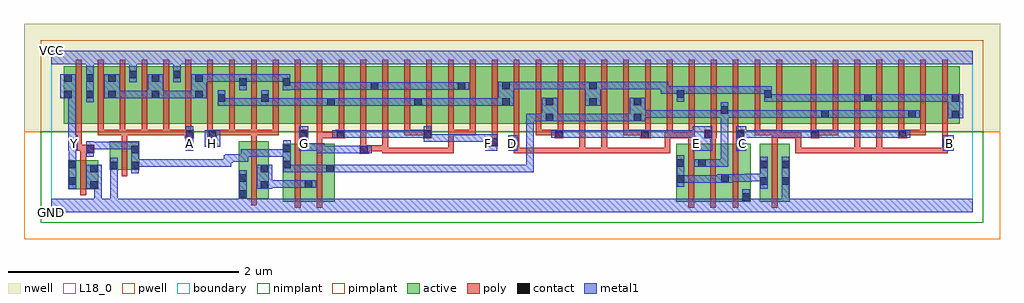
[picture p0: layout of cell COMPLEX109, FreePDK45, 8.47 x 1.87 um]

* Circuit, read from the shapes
.subckt COMPLEX109 A B C D E F G GND H VCC Y
M1 GND n1 Y VSUBS nfet w=0.25u l=0.05u
M2 n1 A GND VSUBS nfet w=0.25u l=0.05u
M3 n2 H GND VSUBS nfet w=0.5u l=0.05u
M4 n2 G n1 VSUBS nfet w=0.5u l=0.05u
M5 n1 F n2 VSUBS nfet w=0.5u l=0.05u
M6 n1 D n3 VSUBS nfet w=0.5u l=0.05u
M7 n3 E n1 VSUBS nfet w=0.5u l=0.05u
M8 GND C n3 VSUBS nfet w=0.5u l=0.05u
M9 GND B n3 VSUBS nfet w=0.5u l=0.05u
M10 VCC n1 Y n4 pfet w=0.5u l=0.05u
M11 n5 A VCC n4 pfet w=0.5u l=0.05u m=5
M12 n6 H n5 n4 pfet w=0.5u l=0.05u m=4
M13 n7 G n5 n4 pfet w=0.5u l=0.05u
M14 n6 F n7 n4 pfet w=0.5u l=0.05u
M15 n8 F n6 n4 pfet w=0.5u l=0.05u
M16 n5 G n8 n4 pfet w=0.5u l=0.05u
M17 n9 G n5 n4 pfet w=0.5u l=0.05u
M18 n6 F n9 n4 pfet w=0.5u l=0.05u
M19 n10 F n6 n4 pfet w=0.5u l=0.05u
M20 n5 G n10 n4 pfet w=0.5u l=0.05u
M21 n11 G n5 n4 pfet w=0.5u l=0.05u
M22 n6 F n11 n4 pfet w=0.5u l=0.05u
M23 n12 D n6 n4 pfet w=0.5u l=0.05u
M24 n1 E n12 n4 pfet w=0.5u l=0.05u
M25 n13 E n1 n4 pfet w=0.5u l=0.05u
M26 n6 D n13 n4 pfet w=0.5u l=0.05u
M27 n14 D n6 n4 pfet w=0.5u l=0.05u
M28 n1 E n14 n4 pfet w=0.5u l=0.05u
M29 n15 E n1 n4 pfet w=0.5u l=0.05u
M30 n6 D n15 n4 pfet w=0.5u l=0.05u
M31 n16 D n6 n4 pfet w=0.5u l=0.05u
M32 n1 E n16 n4 pfet w=0.5u l=0.05u
M33 n17 C n1 n4 pfet w=0.5u l=0.05u
M34 n6 B n17 n4 pfet w=0.5u l=0.05u
M35 n18 B n6 n4 pfet w=0.5u l=0.05u
M36 n1 C n18 n4 pfet w=0.5u l=0.05u
M37 n19 C n1 n4 pfet w=0.5u l=0.05u
M38 n6 B n19 n4 pfet w=0.5u l=0.05u
M39 n20 B n6 n4 pfet w=0.5u l=0.05u
M40 n1 C n20 n4 pfet w=0.5u l=0.05u
M41 n21 C n1 n4 pfet w=0.5u l=0.05u
M42 n6 B n21 n4 pfet w=0.5u l=0.05u
.ends

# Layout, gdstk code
import gdstk
lib = gdstk.Library(unit=1e-6, precision=1e-09)
def R(c, l, rs):  # rectangles x0, y0, x1, y1
    for r in rs: c.add(gdstk.rectangle(r[:2], r[2:], *l))
def A(c, l, x, y, w, h, nx, ny, dx, dy):  # array of equal rectangles
    R(c, l, [(x+i*dx, y+j*dy, x+i*dx+w, y+j*dy+h) for i in range(nx) for j in range(ny)])
active = (1, 0)
pwell = (2, 0)
nwell = (3, 0)
nimplant = (4, 0)
pimplant = (5, 0)
poly = (9, 0)
contact = (10, 0)
metal1 = (11, 0)
L18_0 = (18, 0)
boundary = (235, 0)

complex109 = lib.new_cell('COMPLEX109')
A(complex109, active, 5.275, 0.767, 0.225, 0.5, 3, 1, 0.38, 0)
A(complex109, active, 6.902, 0.767, 0.225, 0.5, 3, 1, 0.38, 0)
A(complex109, active, 4.665, 0.807, 0.075, 0.393, 3, 1, 0.76, 0)
R(complex109, active, [(2.01,0.092,2.27,0.592), (2.195,0.092,2.46,0.592), (5.425,0.092,5.685,0.592), (5.61,0.092,5.885,0.592), (5.81,0.092,6.07,0.592), (5.995,0.092,6.07,0.577), (6.15,0.092,6.41,0.592), (1.63,0.117,1.89,0.617), (1.63,0.117,1.705,0.617), (1.815,0.145,1.89,0.617), (2.01,0.145,2.085,0.592), (2.195,0.145,2.27,0.577), (2.385,0.145,2.46,0.592), (5.425,0.145,5.5,0.592), (5.61,0.145,5.685,0.592), (5.81,0.145,5.885,0.577), (6.15,0.145,6.225,0.592), (6.335,0.145,6.41,0.592), (0.15,0.2,0.225,0.45), (0.15,0.2,0.41,0.45), (0.335,0.2,0.41,0.45), (0.507,0.367,0.582,0.617), (0.507,0.367,0.767,0.617), (0.692,0.367,0.767,0.617), (0.11,0.767,0.375,1.267), (0.11,0.767,0.185,1.2), (0.3,0.767,0.565,1.267), (0.49,0.767,0.75,1.267), (0.675,0.767,0.945,1.267), (0.87,0.767,1.13,1.267), (1.055,0.767,1.32,1.267), (1.245,0.767,1.515,1.267), (1.44,0.767,1.705,1.267), (1.63,0.767,1.895,1.267), (1.82,0.767,2.08,1.267), (2.005,0.767,2.235,1.267), (2.235,0.767,2.465,1.267), (2.39,0.767,2.615,1.267), (2.39,0.767,2.465,1.07), (2.615,0.767,2.845,1.267), (2.77,0.767,2.995,1.267), (2.995,0.767,3.22,1.267), (3.145,0.767,3.375,1.267), (3.375,0.767,3.6,1.267), (3.525,0.767,3.755,1.267), (3.755,0.767,3.985,1.267), (3.91,0.767,4.135,1.267), (4.135,0.767,4.365,1.267), (4.29,0.767,4.515,1.267), (4.29,0.767,4.365,1.07), (4.515,0.767,4.74,1.267), (4.665,0.767,4.895,1.267), (4.895,0.767,5.125,1.267), (5.05,0.767,5.275,1.267), (5.425,0.767,5.655,1.267), (5.805,0.767,6.035,1.267), (5.805,0.767,5.88,1.07), (6.185,0.767,6.522,1.267), (6.522,0.767,6.752,1.267), (6.677,0.767,6.902,1.267), (7.052,0.767,7.282,1.267), (7.432,0.767,7.662,1.267), (7.812,0.767,7.887,1.2), (5.05,0.782,5.125,1.07), (0.3,0.807,0.375,1.255), (0.49,0.807,0.565,1.2), (0.675,0.807,0.75,1.255), (0.87,0.807,0.945,1.2), (1.055,0.807,1.13,1.255), (1.245,0.807,1.32,1.2), (1.44,0.807,1.515,1.07), (1.63,0.807,1.705,1.2), (1.82,0.807,1.895,1.07), (2.005,0.807,2.08,1.2), (2.77,0.807,2.845,1.2), (3.145,0.807,3.22,1.07), (3.525,0.807,3.6,1.2), (3.91,0.807,3.985,1.2), (6.677,0.807,6.752,1.07), (7.052,0.807,7.127,1.2), (7.432,0.807,7.507,1.07)])
R(complex109, pwell, [(-0.235,-0.235,8.235,0.7)])
R(complex109, nwell, [(-0.235,0.7,8.235,1.635)])
R(complex109, nimplant, [(-0.09,-0.09,8.09,0.7)])
R(complex109, pimplant, [(-0.09,0.7,8.09,1.49)])
A(complex109, poly, 0.405, 0.667, 0.05, 0.095, 10, 1, 0.19, 0)
A(complex109, poly, 1.735, 0.667, 0.05, 0.05, 3, 1, 0.19, 0)
A(complex109, poly, 3.065, 0.667, 0.05, 0.095, 4, 1, 0.19, 0)
A(complex109, poly, 5.725, 0.667, 0.05, 0.095, 4, 1, 0.19, 0)
A(complex109, poly, 0.215, 0.712, 0.05, 0.61, 33, 1, 0.19, 0)
A(complex109, poly, 6.592, 0.712, 0.05, 0.61, 7, 1, 0.19, 0)
R(complex109, poly, [(2.115,0.037,2.165,0.647), (2.305,0.037,2.355,0.647), (5.53,0.037,5.58,0.647), (5.72,0.037,5.77,0.647), (5.915,0.037,5.965,0.647), (6.255,0.037,6.305,0.647), (1.735,0.062,1.785,0.717), (0.255,0.145,0.305,0.505), (0.612,0.312,0.662,0.672), (0.255,0.455,0.305,0.56), (2.68,0.505,2.755,0.58), (0.255,0.51,0.375,0.585), (2.875,0.51,2.925,0.56), (2.875,0.51,2.925,0.56), (2.875,0.51,2.925,0.56), (2.875,0.51,3.057,0.56), (2.875,0.51,2.925,0.58), (3.007,0.51,3.057,0.56), (3.007,0.51,3.057,0.56), (3.007,0.51,3.057,0.56), (3.007,0.51,3.247,0.56), (3.197,0.51,3.247,0.56), (3.197,0.51,3.495,0.56), (3.445,0.51,3.495,0.56), (3.445,0.51,3.495,0.56), (3.445,0.51,3.495,0.56), (3.445,0.51,3.495,0.717), (4.015,0.51,4.065,0.612), (4.015,0.51,4.065,0.56), (4.015,0.51,4.287,0.56), (4.237,0.51,4.287,0.56), (4.237,0.51,4.287,0.56), (4.237,0.51,4.287,0.56), (4.237,0.51,4.502,0.56), (4.452,0.51,4.502,0.56), (4.452,0.51,4.502,0.56), (4.452,0.51,4.502,0.56), (4.452,0.51,4.635,0.56), (4.585,0.51,4.635,0.56), (4.585,0.51,4.635,0.56), (4.585,0.51,4.635,0.56), (4.585,0.51,4.635,0.56), (4.585,0.51,4.635,0.56), (4.585,0.51,4.635,0.762), (4.585,0.51,4.825,0.56), (4.775,0.51,4.825,0.56), (4.775,0.51,4.825,0.56), (4.775,0.51,4.825,0.56), (4.775,0.51,4.825,0.56), (4.775,0.51,4.825,0.56), (4.775,0.51,4.825,0.762), (4.775,0.51,5.032,0.56), (4.982,0.51,5.032,0.56), (4.982,0.51,5.032,0.56), (4.982,0.51,5.032,0.56), (4.982,0.51,5.242,0.56), (5.192,0.51,5.242,0.56), (5.192,0.51,5.242,0.56), (5.192,0.51,5.242,0.56), (5.192,0.51,5.375,0.56), (5.325,0.51,5.375,0.692), (6.46,0.51,6.51,0.56), (6.46,0.51,6.51,0.56), (6.46,0.51,6.89,0.56), (6.46,0.51,6.51,0.692), (6.84,0.51,6.89,0.56), (6.84,0.51,6.89,0.56), (6.84,0.51,6.89,0.56), (6.84,0.51,7.022,0.56), (6.972,0.51,7.022,0.56), (6.972,0.51,7.022,0.56), (6.972,0.51,7.022,0.56), (6.972,0.51,7.022,0.56), (6.972,0.51,7.022,0.56), (6.972,0.51,7.022,0.762), (6.972,0.51,7.212,0.56), (7.162,0.51,7.212,0.56), (7.162,0.51,7.212,0.56), (7.162,0.51,7.212,0.56), (7.162,0.51,7.212,0.56), (7.162,0.51,7.212,0.56), (7.162,0.51,7.345,0.56), (7.162,0.51,7.212,0.762), (7.295,0.51,7.345,0.56), (7.295,0.51,7.345,0.56), (7.295,0.51,7.345,0.56), (7.295,0.51,7.56,0.56), (7.51,0.51,7.56,0.56), (7.51,0.51,7.56,0.56), (7.51,0.51,7.56,0.56), (7.51,0.51,7.782,0.56), (7.732,0.51,7.782,0.612), (7.732,0.51,7.782,0.56), (7.732,0.51,7.782,0.56), (7.732,0.51,7.782,0.56), (2.685,0.53,2.735,0.58), (2.685,0.53,2.735,0.58), (2.685,0.53,2.735,0.58), (2.685,0.53,2.735,0.58), (2.685,0.53,2.925,0.58), (2.685,0.53,2.735,0.762), (2.875,0.53,2.925,0.58), (2.875,0.53,2.925,0.762), (0.215,0.535,0.305,0.585), (0.215,0.535,0.265,0.762), (0.255,0.535,0.305,0.585), (3.98,0.562,4.065,0.637), (4.015,0.562,4.065,0.612), (4.015,0.562,4.065,0.612), (7.732,0.562,7.807,0.637), (3.8,0.572,3.875,0.647), (4.015,0.587,4.065,0.762), (7.732,0.587,7.782,0.762), (2.115,0.597,2.165,0.692), (2.305,0.597,2.355,0.692), (3.825,0.597,3.875,0.762), (5.53,0.597,5.58,0.692), (5.72,0.597,5.77,0.692), (5.915,0.597,5.965,0.692), (6.255,0.597,6.305,0.692), (0.612,0.622,0.662,0.717), (1.162,0.642,1.237,0.717), (1.355,0.642,1.437,0.717), (2.115,0.642,2.222,0.717), (2.305,0.642,2.355,0.692), (2.305,0.642,2.355,0.692), (2.305,0.642,2.355,0.692), (2.305,0.642,2.355,0.692), (2.305,0.642,2.355,0.692), (2.305,0.642,2.355,0.762), (2.305,0.642,2.522,0.692), (2.472,0.642,2.547,0.717), (3.23,0.642,3.305,0.717), (4.37,0.642,4.445,0.717), (5.115,0.642,5.205,0.717), (5.325,0.642,5.375,0.692), (5.325,0.642,5.375,0.692), (5.325,0.642,5.375,0.692), (5.325,0.642,5.58,0.692), (5.325,0.642,5.395,0.692), (5.345,0.642,5.395,0.762), (5.53,0.642,5.585,0.692), (5.535,0.642,5.585,0.692), (5.535,0.642,5.585,0.692), (5.535,0.642,5.585,0.762), (5.667,0.642,5.775,0.717), (5.72,0.642,5.77,0.692), (5.72,0.642,5.77,0.692), (5.915,0.642,6.017,0.717), (6.255,0.642,6.305,0.692), (6.255,0.642,6.51,0.692), (6.255,0.642,6.305,0.717), (6.592,0.642,6.667,0.717), (7.352,0.642,7.427,0.717), (0.405,0.667,0.455,0.717), (0.405,0.667,0.645,0.717), (0.595,0.667,0.645,0.717), (0.595,0.667,0.645,0.717), (0.595,0.667,0.662,0.717), (0.612,0.667,0.662,0.717), (0.612,0.667,0.662,0.717), (0.612,0.667,0.835,0.717), (0.785,0.667,0.835,0.717), (0.785,0.667,0.835,0.717), (0.785,0.667,0.835,0.717), (0.785,0.667,1.025,0.717), (0.975,0.667,1.025,0.717), (0.975,0.667,1.025,0.717), (0.975,0.667,1.025,0.717), (0.975,0.667,1.212,0.717), (1.162,0.667,1.212,0.717), (1.162,0.667,1.212,0.717), (1.387,0.667,1.437,0.717), (1.387,0.667,1.437,0.717), (1.387,0.667,1.595,0.717), (1.545,0.667,1.595,0.717), (1.545,0.667,1.595,0.717), (1.545,0.667,1.595,0.717), (1.545,0.667,1.785,0.717), (1.735,0.667,1.785,0.717), (1.735,0.667,1.785,0.717), (1.735,0.667,1.785,0.717), (1.735,0.667,1.785,0.717), (1.735,0.667,1.785,0.717), (1.735,0.667,1.975,0.717), (2.115,0.667,2.165,0.717), (2.495,0.667,2.545,0.762), (3.065,0.667,3.115,0.717), (3.065,0.667,3.28,0.717), (3.23,0.667,3.28,0.717), (3.23,0.667,3.28,0.717), (3.445,0.667,3.495,0.717), (3.445,0.667,3.685,0.717), (3.635,0.667,3.685,0.717), (3.635,0.667,3.685,0.717), (3.635,0.667,3.685,0.717), (4.205,0.667,4.255,0.717), (4.205,0.667,4.255,0.717), (4.205,0.667,4.255,0.717), (4.205,0.667,4.255,0.762), (4.205,0.667,4.42,0.717), (4.395,0.667,4.445,0.762), (4.965,0.667,5.015,0.717), (4.965,0.667,5.015,0.717), (4.965,0.667,5.015,0.717), (4.965,0.667,5.015,0.762), (4.965,0.667,5.165,0.717), (5.155,0.667,5.205,0.762), (5.915,0.667,5.965,0.717), (5.915,0.667,5.965,0.717), (6.105,0.667,6.155,0.717), (6.105,0.667,6.305,0.717), (6.255,0.667,6.305,0.717), (6.255,0.667,6.305,0.717), (6.255,0.667,6.345,0.717), (6.592,0.667,6.642,0.762), (6.617,0.667,6.667,0.717), (6.617,0.667,6.667,0.717), (6.617,0.667,6.832,0.717), (6.782,0.667,6.832,0.717), (6.782,0.667,6.832,0.762), (7.352,0.667,7.402,0.762), (7.377,0.667,7.592,0.717), (7.542,0.667,7.592,0.717), (7.542,0.667,7.592,0.717), (7.542,0.667,7.592,0.717), (7.542,0.667,7.592,0.762)])
A(complex109, contact, 0.115, 0.99, 0.065, 0.065, 3, 2, 0.19, 0.14)
R(complex109, contact, [(6,0.097,6.065,0.162), (1.635,0.125,1.7,0.19), (0.34,0.205,0.405,0.27), (1.82,0.205,1.885,0.27), (2.2,0.21,2.265,0.275), (0.155,0.24,0.22,0.305), (6.155,0.24,6.22,0.305), (6.34,0.24,6.405,0.305), (5.43,0.255,5.495,0.32), (5.815,0.262,5.88,0.327), (1.635,0.265,1.7,0.33), (0.34,0.345,0.405,0.41), (1.82,0.345,1.885,0.41), (2.39,0.347,2.455,0.412), (0.512,0.372,0.577,0.437), (0.697,0.372,0.762,0.437), (0.155,0.38,0.22,0.445), (6.155,0.38,6.22,0.445), (6.34,0.38,6.405,0.445), (2.015,0.382,2.08,0.447), (5.43,0.395,5.495,0.46), (5.615,0.395,5.68,0.46), (2.685,0.51,2.75,0.575), (0.697,0.512,0.762,0.577), (0.305,0.515,0.37,0.58), (2.015,0.522,2.08,0.587), (3.985,0.567,4.05,0.632), (7.737,0.567,7.802,0.632), (3.805,0.577,3.87,0.642), (1.167,0.647,1.232,0.712), (1.367,0.647,1.432,0.712), (2.152,0.647,2.217,0.712), (2.477,0.647,2.542,0.712), (3.235,0.647,3.3,0.712), (4.375,0.647,4.44,0.712), (5.12,0.647,5.185,0.712), (5.672,0.647,5.737,0.712), (5.947,0.647,6.012,0.712), (6.597,0.647,6.662,0.712), (7.357,0.647,7.422,0.712), (4.295,0.787,4.36,0.852), (5.055,0.787,5.12,0.852), (7.817,0.817,7.882,0.882), (6.682,0.82,6.747,0.885), (7.437,0.82,7.502,0.885), (5.81,0.855,5.875,0.92), (2.395,0.925,2.46,0.99), (3.15,0.925,3.215,0.99), (3.915,0.925,3.98,0.99), (4.67,0.925,4.735,0.99), (4.295,0.927,4.36,0.992), (5.055,0.927,5.12,0.992), (1.445,0.957,1.51,1.022), (1.825,0.957,1.89,1.022), (7.057,0.957,7.122,1.022), (7.817,0.957,7.882,1.022), (0.875,0.99,0.94,1.055), (1.25,0.99,1.315,1.055), (5.43,0.992,5.495,1.057), (6.19,0.992,6.255,1.057), (2.775,1.062,2.84,1.127), (3.53,1.062,3.595,1.127), (3.915,1.065,3.98,1.13), (4.67,1.065,4.735,1.13), (1.635,1.095,1.7,1.16), (2.01,1.095,2.075,1.16), (0.875,1.13,0.94,1.195), (1.25,1.13,1.315,1.195), (0.68,1.162,0.745,1.227), (1.06,1.162,1.125,1.227)])
A(complex109, metal1, 0.08, 0.99, 0.135, 0.205, 3, 1, 0.38, 0)
R(complex109, metal1, [(0,0,8,0.115), (0.375,0.05,0.44,0.115), (0.375,0.05,0.44,0.115), (0.375,0.05,0.44,0.27), (0.512,0.05,0.577,0.115), (0.512,0.05,0.577,0.115), (0.512,0.05,0.577,0.402), (1.635,0.05,1.7,0.155), (6,0.05,6.065,0.127), (6.34,0.05,6.405,0.27), (6,0.062,6.065,0.197), (1.635,0.09,1.7,0.365), (0.155,0.205,0.22,0.48), (0.305,0.205,0.44,0.41), (0.375,0.205,0.44,0.27), (0.375,0.205,0.44,0.27), (1.785,0.205,1.92,0.41), (6.155,0.205,6.22,0.48), (6.34,0.205,6.405,0.48), (1.855,0.21,1.92,0.275), (1.855,0.21,1.92,0.275), (1.855,0.21,2.092,0.275), (2.027,0.21,2.092,0.275), (2.027,0.21,2.23,0.275), (2.165,0.21,2.23,0.275), (2.165,0.21,2.23,0.275), (2.165,0.21,2.3,0.275), (5.43,0.22,5.495,0.495), (5.43,0.257,5.495,0.322), (5.43,0.257,5.495,0.322), (5.43,0.257,5.707,0.322), (5.642,0.257,5.707,0.322), (5.642,0.257,5.845,0.322), (5.78,0.257,5.845,0.322), (5.78,0.257,5.845,0.322), (5.78,0.257,5.915,0.327), (5.85,0.262,6.082,0.327), (6.017,0.262,6.082,0.335), (6.017,0.27,6.082,0.335), (6.017,0.27,6.082,0.335), (6.017,0.27,6.22,0.335), (6.155,0.27,6.22,0.335), (6.155,0.27,6.22,0.335), (0.512,0.337,0.577,0.402), (0.512,0.337,0.577,0.402), (0.512,0.337,0.577,0.472), (0.697,0.337,0.762,0.612), (2.015,0.347,2.08,0.622), (2.015,0.347,2.23,0.412), (2.165,0.347,2.23,0.412), (2.165,0.347,2.23,0.412), (2.165,0.347,2.23,0.412), (2.165,0.347,2.37,0.412), (2.305,0.347,2.37,0.412), (2.305,0.347,2.42,0.412), (2.355,0.347,2.49,0.412), (2.425,0.347,2.507,0.412), (2.442,0.347,2.507,0.412), (2.442,0.347,2.645,0.412), (2.58,0.347,2.645,0.412), (2.58,0.347,2.875,0.412), (2.81,0.347,2.875,0.412), (2.81,0.347,2.875,0.412), (2.81,0.347,2.875,0.412), (2.81,0.347,3.012,0.412), (2.947,0.347,3.012,0.412), (2.947,0.347,3.012,0.412), (2.947,0.347,3.012,0.412), (2.947,0.347,3.162,0.412), (3.097,0.347,3.162,0.412), (3.097,0.347,3.162,0.412), (3.097,0.347,3.162,0.412), (3.097,0.347,3.387,0.412), (3.322,0.347,3.387,0.412), (3.322,0.347,3.387,0.412), (3.322,0.347,3.387,0.412), (3.322,0.347,3.532,0.412), (3.467,0.347,3.532,0.412), (3.467,0.347,3.532,0.412), (3.467,0.347,3.532,0.412), (3.467,0.347,3.532,0.412), (3.467,0.347,3.532,0.412), (3.467,0.347,3.67,0.412), (3.605,0.347,3.67,0.412), (3.605,0.347,3.67,0.412), (3.605,0.347,3.67,0.412), (3.605,0.347,3.832,0.412), (3.767,0.347,3.832,0.412), (3.767,0.347,3.97,0.412), (3.905,0.347,3.97,0.412), (3.905,0.347,3.97,0.412), (3.905,0.347,3.97,0.412), (3.905,0.347,4.187,0.412), (4.122,0.347,4.187,0.412), (4.122,0.347,4.187,0.412), (4.122,0.347,4.187,0.412), (4.122,0.347,4.187,0.852), (0.697,0.395,0.937,0.46), (0.872,0.395,0.937,0.46), (0.872,0.395,0.937,0.46), (0.872,0.395,0.937,0.46), (0.872,0.395,1.075,0.46), (1.01,0.395,1.075,0.46), (1.01,0.395,1.112,0.46), (1.047,0.395,1.112,0.46), (1.047,0.395,1.212,0.46), (1.147,0.395,1.212,0.46), (1.147,0.395,1.25,0.46), (1.185,0.395,1.25,0.46), (1.185,0.395,1.35,0.46), (1.285,0.395,1.35,0.46), (1.285,0.395,1.562,0.46), (1.497,0.395,1.562,0.495), (5.58,0.395,5.715,0.46), (5.65,0.395,5.715,0.46), (5.65,0.395,5.715,0.46), (5.65,0.395,5.875,0.46), (5.81,0.395,5.875,0.46), (5.81,0.395,5.875,0.885), (0.155,0.415,0.22,0.597), (1.497,0.43,1.575,0.495), (1.51,0.43,1.575,0.502), (1.51,0.437,1.712,0.502), (1.647,0.437,1.712,0.547), (0.305,0.48,0.37,0.615), (1.647,0.482,1.712,0.547), (1.647,0.482,1.712,0.547), (1.647,0.482,1.85,0.547), (1.785,0.482,1.85,0.547), (1.785,0.482,1.85,0.547), (1.785,0.482,1.85,0.547), (1.785,0.482,2.08,0.547), (2.305,0.51,2.507,0.575), (2.305,0.51,2.37,0.597), (2.442,0.51,2.507,0.575), (2.442,0.51,2.507,0.575), (2.442,0.51,2.507,0.575), (2.442,0.51,2.645,0.575), (2.58,0.51,2.645,0.575), (2.58,0.51,2.715,0.575), (2.65,0.51,2.785,0.575), (0.15,0.532,0.232,0.667), (1.167,0.532,1.232,0.747), (2.152,0.532,2.232,0.747), (2.167,0.532,2.232,0.597), (2.167,0.532,2.232,0.597), (2.167,0.532,2.37,0.597), (3.767,0.532,3.87,0.677), (3.967,0.532,4.05,0.667), (5.567,0.532,5.737,0.747), (5.947,0.532,6.032,0.747), (7.737,0.532,7.832,0.667), (0.305,0.545,0.37,0.61), (0.305,0.545,0.37,0.61), (0.305,0.545,0.607,0.61), (0.542,0.545,0.607,0.61), (0.542,0.545,0.607,0.61), (0.542,0.545,0.607,0.61), (0.542,0.545,0.607,0.61), (0.542,0.545,0.607,0.61), (0.542,0.545,0.762,0.61), (0.697,0.545,0.762,0.61), (0.697,0.545,0.762,0.61), (1.332,0.567,1.467,0.712), (0.15,0.602,0.215,1.055), (3.235,0.612,3.3,0.747), (3.235,0.612,3.387,0.677), (3.322,0.612,3.387,0.677), (3.322,0.612,3.532,0.677), (3.467,0.612,3.532,0.677), (3.467,0.612,3.532,0.677), (3.467,0.612,3.532,0.677), (3.467,0.612,3.695,0.677), (3.63,0.612,3.695,0.677), (3.63,0.612,3.695,0.677), (3.63,0.612,3.695,0.677), (3.63,0.612,3.832,0.677), (2.442,0.647,2.577,0.712), (2.512,0.647,2.667,0.712), (2.602,0.647,2.667,0.712), (2.602,0.647,2.875,0.712), (2.81,0.647,2.875,0.712), (2.81,0.647,2.875,0.712), (2.81,0.647,2.875,0.712), (2.81,0.647,3.012,0.712), (2.947,0.647,3.012,0.712), (2.947,0.647,3.012,0.712), (2.947,0.647,3.012,0.712), (2.947,0.647,3.162,0.712), (3.097,0.647,3.162,0.712), (3.097,0.647,3.162,0.712), (3.097,0.647,3.162,0.712), (3.097,0.647,3.3,0.712), (4.34,0.647,4.475,0.712), (4.41,0.647,4.562,0.712), (4.497,0.647,4.562,0.712), (4.497,0.647,4.632,0.712), (4.567,0.647,4.632,0.712), (4.567,0.647,4.77,0.712), (4.705,0.647,4.77,0.712), (4.705,0.647,4.77,0.712), (4.705,0.647,4.77,0.712), (4.705,0.647,4.947,0.712), (4.882,0.647,4.947,0.712), (4.882,0.647,4.947,0.712), (4.882,0.647,4.947,0.712), (4.882,0.647,5.15,0.712), (5.085,0.647,5.15,0.712), (5.085,0.647,5.15,0.712), (5.085,0.647,5.22,0.712), (5.155,0.647,5.357,0.712), (5.292,0.647,5.357,0.712), (5.292,0.647,5.357,0.712), (5.292,0.647,5.357,0.712), (5.292,0.647,5.495,0.712), (5.43,0.647,5.495,0.712), (5.43,0.647,5.495,0.712), (5.43,0.647,5.495,0.712), (5.43,0.647,5.632,0.712), (5.567,0.647,5.632,0.712), (5.567,0.647,5.632,0.712), (5.967,0.647,6.052,0.712), (5.987,0.647,6.052,0.712), (5.987,0.647,6.255,0.712), (6.19,0.647,6.255,0.712), (6.19,0.647,6.255,0.712), (6.19,0.647,6.255,0.712), (6.19,0.647,6.392,0.712), (6.327,0.647,6.392,0.712), (6.327,0.647,6.392,0.712), (6.327,0.647,6.392,0.712), (6.327,0.647,6.392,0.712), (6.327,0.647,6.392,0.712), (6.327,0.647,6.627,0.712), (6.562,0.647,6.697,0.712), (6.632,0.647,6.697,0.712), (6.632,0.647,6.697,0.712), (6.632,0.647,6.95,0.712), (6.885,0.647,6.95,0.712), (6.885,0.647,6.95,0.712), (6.885,0.647,6.95,0.712), (6.885,0.647,7.112,0.712), (7.047,0.647,7.112,0.712), (7.047,0.647,7.112,0.712), (7.047,0.647,7.112,0.712), (7.047,0.647,7.25,0.712), (7.185,0.647,7.25,0.712), (7.185,0.647,7.295,0.712), (7.23,0.647,7.295,0.712), (7.23,0.647,7.387,0.712), (7.322,0.647,7.457,0.712), (4.122,0.787,4.187,0.852), (4.122,0.787,4.187,0.852), (4.122,0.787,4.187,0.852), (4.122,0.787,4.325,0.852), (4.26,0.787,4.395,0.992), (4.33,0.787,4.395,0.852), (4.33,0.787,4.395,0.852), (4.33,0.787,4.532,0.852), (4.467,0.787,4.532,0.852), (4.467,0.787,4.632,0.852), (4.567,0.787,4.632,0.852), (4.567,0.787,4.77,0.852), (4.705,0.787,4.77,0.852), (4.705,0.787,4.77,0.852), (4.705,0.787,4.77,0.852), (4.705,0.787,4.947,0.852), (4.882,0.787,4.947,0.852), (4.882,0.787,4.947,0.852), (4.882,0.787,4.947,0.852), (4.882,0.787,5.085,0.852), (5.02,0.787,5.155,0.992), (7.782,0.817,7.917,1.022), (5.09,0.82,5.155,0.885), (5.09,0.82,5.155,0.885), (5.09,0.82,5.357,0.885), (5.292,0.82,5.357,0.885), (5.292,0.82,5.357,0.885), (5.292,0.82,5.357,0.885), (5.292,0.82,5.495,0.885), (5.43,0.82,5.495,0.885), (5.43,0.82,5.495,0.885), (5.43,0.82,5.495,0.885), (5.43,0.82,5.707,0.885), (5.642,0.82,5.707,0.885), (5.642,0.82,5.875,0.885), (5.81,0.82,5.875,0.885), (5.81,0.82,5.875,0.885), (5.81,0.82,5.875,0.885), (5.81,0.82,5.875,0.885), (5.81,0.82,5.875,0.885), (5.81,0.82,5.875,0.885), (5.81,0.82,5.875,0.955), (5.81,0.82,6.052,0.885), (5.987,0.82,6.052,0.885), (5.987,0.82,6.052,0.885), (5.987,0.82,6.052,0.885), (5.987,0.82,6.255,0.885), (6.19,0.82,6.255,0.885), (6.19,0.82,6.255,0.885), (6.19,0.82,6.255,0.885), (6.19,0.82,6.49,0.885), (6.425,0.82,6.49,0.885), (6.425,0.82,6.49,0.885), (6.425,0.82,6.49,0.885), (6.425,0.82,6.712,0.885), (6.647,0.82,6.712,0.885), (6.647,0.82,6.712,0.885), (6.647,0.82,6.782,0.885), (6.717,0.82,6.95,0.885), (6.885,0.82,6.95,0.885), (6.885,0.82,6.95,0.885), (6.885,0.82,6.95,0.885), (6.885,0.82,7.087,0.885), (7.022,0.82,7.087,0.885), (7.022,0.82,7.087,0.885), (7.022,0.82,7.087,0.885), (7.022,0.82,7.25,0.885), (7.185,0.82,7.25,0.885), (7.185,0.82,7.295,0.885), (7.23,0.82,7.295,0.885), (7.23,0.82,7.467,0.885), (7.402,0.82,7.467,0.885), (7.402,0.82,7.467,0.885), (7.402,0.82,7.537,0.885), (1.445,0.922,1.51,0.987), (1.445,0.922,1.51,0.987), (1.445,0.922,1.51,1.057), (1.445,0.922,1.712,0.987), (1.647,0.922,1.712,0.987), (1.647,0.922,1.712,0.987), (1.647,0.922,1.712,0.987), (1.647,0.922,1.89,0.987), (1.825,0.922,1.89,0.987), (1.825,0.922,1.89,0.987), (1.825,0.922,1.89,1.057), (1.825,0.922,2.057,0.987), (1.992,0.922,2.057,0.987), (1.992,0.922,2.232,0.987), (2.167,0.922,2.232,0.987), (2.167,0.922,2.232,0.987), (2.167,0.922,2.232,0.987), (2.167,0.922,2.37,0.987), (2.305,0.922,2.37,0.99), (2.305,0.925,2.425,0.99), (2.36,0.925,2.495,0.99), (2.43,0.925,2.495,0.99), (2.43,0.925,2.495,0.99), (2.43,0.925,2.577,0.99), (2.512,0.925,2.577,0.99), (2.512,0.925,2.645,0.99), (2.58,0.925,2.645,0.99), (2.58,0.925,2.875,0.99), (2.81,0.925,2.875,0.99), (2.81,0.925,2.875,0.99), (2.81,0.925,2.875,0.99), (2.81,0.925,3.025,0.99), (2.96,0.925,3.025,0.99), (2.96,0.925,3.025,0.99), (2.96,0.925,3.025,0.99), (2.96,0.925,3.162,0.99), (3.097,0.925,3.162,0.99), (3.097,0.925,3.18,0.99), (3.115,0.925,3.25,0.99), (3.185,0.925,3.395,0.99), (3.33,0.925,3.395,0.99), (3.33,0.925,3.395,0.99), (3.33,0.925,3.395,0.99), (3.33,0.925,3.532,0.99), (3.467,0.925,3.532,0.99), (3.467,0.925,3.532,0.99), (3.467,0.925,3.532,0.99), (3.467,0.925,3.695,0.99), (3.63,0.925,3.695,0.99), (3.63,0.925,3.695,0.99), (3.63,0.925,3.695,0.99), (3.63,0.925,3.832,0.99), (3.767,0.925,3.832,0.99), (3.767,0.925,3.945,0.99), (3.88,0.925,4.015,1.13), (4.635,0.925,4.77,1.13), (0.305,0.955,0.37,1.23), (5.43,0.957,5.495,1.092), (6.19,0.957,6.392,1.022), (6.19,0.957,6.255,1.092), (6.327,0.957,6.392,1.022), (6.327,0.957,6.392,1.022), (6.327,0.957,6.392,1.022), (6.327,0.957,6.812,1.022), (6.747,0.957,6.812,1.022), (6.747,0.957,6.812,1.022), (6.747,0.957,6.812,1.022), (6.747,0.957,6.95,1.022), (6.885,0.957,6.95,1.022), (6.885,0.957,6.95,1.022), (6.885,0.957,6.95,1.022), (6.885,0.957,7.087,1.022), (7.022,0.957,7.087,1.022), (7.022,0.957,7.087,1.022), (7.022,0.957,7.157,1.022), (7.092,0.957,7.25,1.022), (7.185,0.957,7.25,1.022), (7.185,0.957,7.295,1.022), (7.23,0.957,7.295,1.022), (7.23,0.957,7.432,1.022), (7.367,0.957,7.432,1.022), (7.367,0.957,7.432,1.022), (7.367,0.957,7.432,1.022), (7.367,0.957,7.665,1.022), (7.6,0.957,7.665,1.022), (7.6,0.957,7.665,1.022), (7.6,0.957,7.665,1.022), (7.6,0.957,7.847,1.022), (7.782,0.957,7.847,1.022), (7.782,0.957,7.847,1.022), (0.15,0.99,0.215,1.055), (0.15,0.99,0.215,1.055), (0.53,0.99,0.767,1.055), (0.702,0.99,0.767,1.055), (0.702,0.99,0.767,1.055), (0.702,0.99,0.767,1.055), (0.702,0.99,0.905,1.055), (0.84,0.99,0.905,1.055), (0.84,0.99,0.905,1.055), (0.91,0.99,1.075,1.055), (1.01,0.99,1.075,1.055), (1.01,0.99,1.112,1.055), (1.047,0.99,1.112,1.055), (1.047,0.99,1.212,1.055), (1.147,0.99,1.212,1.055), (1.147,0.99,1.28,1.055), (1.215,0.99,1.35,1.195), (5.292,1.027,5.357,1.092), (5.292,1.027,5.357,1.092), (5.292,1.027,5.495,1.092), (5.292,1.027,5.357,1.13), (5.43,1.027,5.495,1.092), (5.43,1.027,5.495,1.092), (5.43,1.027,5.707,1.092), (5.642,1.027,5.707,1.092), (5.642,1.027,5.707,1.092), (5.642,1.027,5.707,1.092), (5.642,1.027,5.852,1.092), (5.787,1.027,5.852,1.092), (5.787,1.027,6.082,1.092), (6.017,1.027,6.082,1.092), (6.017,1.027,6.082,1.092), (6.017,1.027,6.082,1.092), (6.017,1.027,6.255,1.092), (6.19,1.027,6.255,1.092), (6.19,1.027,6.255,1.092), (1.635,1.06,1.7,1.195), (2.01,1.06,2.075,1.195), (2.01,1.062,2.232,1.127), (2.167,1.062,2.232,1.127), (2.167,1.062,2.232,1.127), (2.167,1.062,2.232,1.127), (2.167,1.062,2.37,1.127), (2.305,1.062,2.37,1.127), (2.305,1.062,2.507,1.127), (2.442,1.062,2.507,1.127), (2.442,1.062,2.507,1.127), (2.442,1.062,2.507,1.127), (2.442,1.062,2.667,1.127), (2.602,1.062,2.667,1.127), (2.602,1.062,2.805,1.127), (2.74,1.062,2.805,1.127), (2.74,1.062,2.805,1.127), (2.74,1.062,2.875,1.127), (2.81,1.062,3.025,1.127), (2.96,1.062,3.025,1.127), (2.96,1.062,3.025,1.127), (2.96,1.062,3.025,1.127), (2.96,1.062,3.162,1.127), (3.097,1.062,3.162,1.127), (3.097,1.062,3.162,1.127), (3.097,1.062,3.162,1.127), (3.097,1.062,3.387,1.127), (3.322,1.062,3.387,1.127), (3.322,1.062,3.387,1.127), (3.322,1.062,3.387,1.127), (3.322,1.062,3.532,1.127), (3.467,1.062,3.532,1.127), (3.467,1.062,3.56,1.127), (3.495,1.062,3.63,1.127), (3.95,1.065,4.015,1.13), (3.95,1.065,4.015,1.13), (3.95,1.065,4.187,1.13), (4.122,1.065,4.187,1.13), (4.122,1.065,4.187,1.13), (4.122,1.065,4.187,1.13), (4.122,1.065,4.395,1.13), (4.33,1.065,4.395,1.13), (4.33,1.065,4.395,1.13), (4.33,1.065,4.395,1.13), (4.33,1.065,4.532,1.13), (4.467,1.065,4.532,1.13), (4.467,1.065,4.632,1.13), (4.567,1.065,4.632,1.13), (4.567,1.065,4.7,1.13), (4.705,1.065,4.77,1.13), (4.705,1.065,4.77,1.13), (4.705,1.065,4.907,1.13), (4.842,1.065,4.907,1.13), (4.842,1.065,4.907,1.13), (4.842,1.065,4.907,1.13), (4.842,1.065,5.085,1.13), (5.02,1.065,5.085,1.13), (5.02,1.065,5.085,1.13), (5.02,1.065,5.085,1.13), (5.02,1.065,5.357,1.13), (0.68,1.127,0.745,1.262), (1.06,1.127,1.125,1.262), (1.285,1.13,1.35,1.195), (1.285,1.13,1.35,1.195), (1.285,1.13,1.487,1.195), (1.422,1.13,1.487,1.195), (1.422,1.13,1.487,1.195), (1.422,1.13,1.487,1.195), (1.422,1.13,1.7,1.195), (1.635,1.13,1.712,1.195), (1.647,1.13,1.712,1.195), (1.647,1.13,1.92,1.195), (1.855,1.13,1.92,1.195), (1.855,1.13,1.92,1.195), (1.855,1.13,1.92,1.195), (1.855,1.13,2.075,1.195), (0.305,1.165,0.37,1.35), (0.68,1.197,0.745,1.35), (1.06,1.197,1.125,1.35), (0,1.285,8,1.4)])
R(complex109, L18_0, [(0,0,8,0.115), (0.375,0.05,0.44,0.115), (0.375,0.05,0.44,0.115), (0.375,0.05,0.44,0.27), (0.512,0.05,0.577,0.115), (0.512,0.05,0.577,0.115), (0.512,0.05,0.577,0.402), (1.635,0.05,1.7,0.155), (6,0.05,6.065,0.127), (6.34,0.05,6.405,0.27), (6,0.062,6.065,0.197), (1.635,0.09,1.7,0.365), (0.155,0.205,0.22,0.48), (0.305,0.205,0.44,0.41), (0.375,0.205,0.44,0.27), (0.375,0.205,0.44,0.27), (6.34,0.205,6.405,0.48), (0.512,0.337,0.577,0.402), (0.512,0.337,0.577,0.402), (0.512,0.337,0.577,0.472), (0.155,0.415,0.22,0.597), (2.305,0.51,2.37,0.597), (2.305,0.51,2.507,0.575), (2.442,0.51,2.507,0.575), (2.442,0.51,2.507,0.575), (2.442,0.51,2.507,0.575), (2.442,0.51,2.645,0.575), (2.58,0.51,2.645,0.575), (2.58,0.51,2.715,0.575), (2.65,0.51,2.785,0.575), (0.15,0.532,0.232,0.667), (1.167,0.532,1.232,0.747), (2.152,0.532,2.232,0.747), (2.167,0.532,2.232,0.597), (2.167,0.532,2.232,0.597), (2.167,0.532,2.37,0.597), (3.767,0.532,3.87,0.677), (3.967,0.532,4.05,0.667), (5.567,0.532,5.737,0.747), (5.947,0.532,6.032,0.747), (7.737,0.532,7.832,0.667), (0.167,0.567,0.232,0.632), (1.167,0.567,1.232,0.632), (1.332,0.567,1.467,0.712), (1.367,0.567,1.432,0.632), (2.167,0.567,2.232,0.632), (3.767,0.567,3.832,0.632), (3.967,0.567,4.032,0.632), (5.567,0.567,5.632,0.632), (5.967,0.567,6.032,0.632), (7.767,0.567,7.832,0.632), (0.15,0.602,0.215,1.055), (3.235,0.612,3.3,0.747), (3.235,0.612,3.387,0.677), (3.322,0.612,3.387,0.677), (3.322,0.612,3.532,0.677), (3.467,0.612,3.532,0.677), (3.467,0.612,3.532,0.677), (3.467,0.612,3.532,0.677), (3.467,0.612,3.695,0.677), (3.63,0.612,3.695,0.677), (3.63,0.612,3.695,0.677), (3.63,0.612,3.695,0.677), (3.63,0.612,3.832,0.677), (2.442,0.647,2.577,0.712), (2.512,0.647,2.667,0.712), (2.602,0.647,2.667,0.712), (2.602,0.647,2.875,0.712), (2.81,0.647,2.875,0.712), (2.81,0.647,2.875,0.712), (2.81,0.647,2.875,0.712), (2.81,0.647,3.012,0.712), (2.947,0.647,3.012,0.712), (2.947,0.647,3.012,0.712), (2.947,0.647,3.012,0.712), (2.947,0.647,3.162,0.712), (3.097,0.647,3.162,0.712), (3.097,0.647,3.162,0.712), (3.097,0.647,3.162,0.712), (3.097,0.647,3.3,0.712), (4.34,0.647,4.475,0.712), (4.41,0.647,4.562,0.712), (4.497,0.647,4.562,0.712), (4.497,0.647,4.632,0.712), (4.567,0.647,4.632,0.712), (4.567,0.647,4.77,0.712), (4.705,0.647,4.77,0.712), (4.705,0.647,4.77,0.712), (4.705,0.647,4.77,0.712), (4.705,0.647,4.947,0.712), (4.882,0.647,4.947,0.712), (4.882,0.647,4.947,0.712), (4.882,0.647,4.947,0.712), (4.882,0.647,5.15,0.712), (5.085,0.647,5.15,0.712), (5.085,0.647,5.15,0.712), (5.085,0.647,5.22,0.712), (5.155,0.647,5.357,0.712), (5.292,0.647,5.357,0.712), (5.292,0.647,5.357,0.712), (5.292,0.647,5.357,0.712), (5.292,0.647,5.495,0.712), (5.43,0.647,5.495,0.712), (5.43,0.647,5.495,0.712), (5.43,0.647,5.495,0.712), (5.43,0.647,5.632,0.712), (5.567,0.647,5.632,0.712), (5.567,0.647,5.632,0.712), (5.967,0.647,6.052,0.712), (5.987,0.647,6.052,0.712), (5.987,0.647,6.255,0.712), (6.19,0.647,6.255,0.712), (6.19,0.647,6.255,0.712), (6.19,0.647,6.255,0.712), (6.19,0.647,6.392,0.712), (6.327,0.647,6.392,0.712), (6.327,0.647,6.392,0.712), (6.327,0.647,6.392,0.712), (6.327,0.647,6.392,0.712), (6.327,0.647,6.392,0.712), (6.327,0.647,6.627,0.712), (6.562,0.647,6.697,0.712), (6.632,0.647,6.697,0.712), (6.632,0.647,6.697,0.712), (6.632,0.647,6.95,0.712), (6.885,0.647,6.95,0.712), (6.885,0.647,6.95,0.712), (6.885,0.647,6.95,0.712), (6.885,0.647,7.112,0.712), (7.047,0.647,7.112,0.712), (7.047,0.647,7.112,0.712), (7.047,0.647,7.112,0.712), (7.047,0.647,7.25,0.712), (7.185,0.647,7.25,0.712), (7.185,0.647,7.295,0.712), (7.23,0.647,7.295,0.712), (7.23,0.647,7.387,0.712), (7.322,0.647,7.457,0.712), (0.305,0.955,0.37,1.23), (0.08,0.99,0.215,1.195), (0.15,0.99,0.215,1.055), (0.15,0.99,0.215,1.055), (0.68,1.127,0.745,1.262), (1.06,1.127,1.125,1.262), (0.305,1.165,0.37,1.35), (0.68,1.197,0.745,1.35), (1.06,1.197,1.125,1.35), (0,1.285,8,1.4)])
R(complex109, boundary, [(0,0,8,1.4)])
complex109.add(gdstk.Label('A', (1.2,0.6), layer=11, texttype=0))
complex109.add(gdstk.Label('B', (7.8,0.6), layer=11, texttype=0))
complex109.add(gdstk.Label('C', (6,0.6), layer=11, texttype=0))
complex109.add(gdstk.Label('D', (4,0.6), layer=11, texttype=0))
complex109.add(gdstk.Label('E', (5.6,0.6), layer=11, texttype=0))
complex109.add(gdstk.Label('F', (3.8,0.6), layer=11, texttype=0))
complex109.add(gdstk.Label('G', (2.2,0.6), layer=11, texttype=0))
complex109.add(gdstk.Label('H', (1.4,0.6), layer=11, texttype=0))
complex109.add(gdstk.Label('Y', (0.2,0.6), layer=11, texttype=0))
complex109.add(gdstk.Label('VCC', (0,1.4), layer=11, texttype=0))
complex109.add(gdstk.Label('GND', (0,0), layer=11, texttype=0))

lib.write_gds('COMPLEX109.gds')
